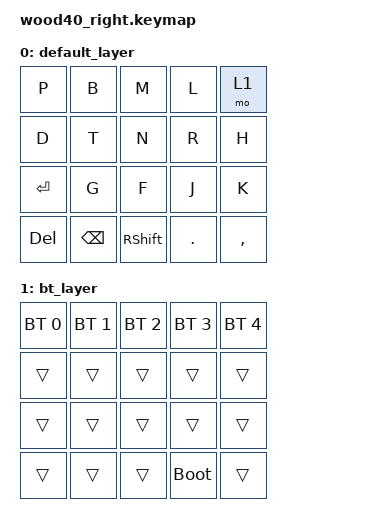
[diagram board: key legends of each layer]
#include <behaviors.dtsi>
#include <dt-bindings/zmk/keys.h>
#include <dt-bindings/zmk/bt.h>

/ {
    keymap {
        compatible = "zmk,keymap";

        default_layer {
            bindings = <
                &kp P       &kp B      &kp M      &kp L      &mo 1
                &kp D       &kp T      &kp N      &kp R      &kp H
                &kp ENTER   &kp G      &kp F      &kp J      &kp K
                &kp DEL     &kp BSPC   &kp RSHFT  &kp DOT    &kp COMMA
            >;
        };

        bt_layer {
            bindings = <
                &bt BT_SEL 0 &bt BT_SEL 1 &bt BT_SEL 2 &bt BT_SEL 3 &bt BT_SEL 4
                &trans       &trans       &trans       &trans       &trans
                &trans       &trans       &trans       &trans       &trans
                &trans       &trans       &trans       &bootloader  &trans
            >;
        };
    };
};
